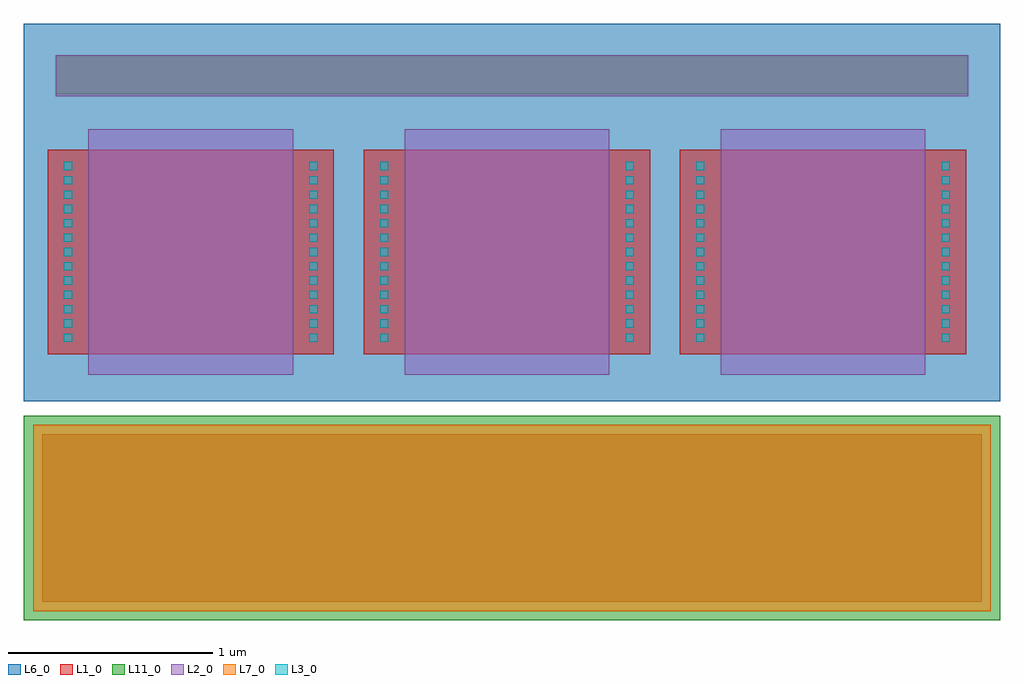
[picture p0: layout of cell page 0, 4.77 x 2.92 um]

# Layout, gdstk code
import gdstk
lib = gdstk.Library(unit=1e-6, precision=5e-09)
def R(c, l, rs):  # rectangles x0, y0, x1, y1
    for r in rs: c.add(gdstk.rectangle(r[:2], r[2:], *l))
def A(c, l, x, y, w, h, nx, ny, dx, dy):  # array of equal rectangles
    R(c, l, [(x+i*dx, y+j*dy, x+i*dx+w, y+j*dy+h) for i in range(nx) for j in range(ny)])
L1_0 = (1, 0)
L2_0 = (2, 0)
L3_0 = (3, 0)
L6_0 = (6, 0)
L7_0 = (7, 0)
L11_0 = (11, 0)

page_0 = lib.new_cell('page 0')
A(page_0, L1_0, 0.53, -2.125, 1.4, 1, 3, 1, 1.545, 0)
R(page_0, L1_0, [(0.505,-3.335,5.095,-2.515)])
A(page_0, L2_0, 0.73, -2.225, 1, 1.2, 3, 1, 1.545, 0)
R(page_0, L2_0, [(0.57,-0.865,5.03,-0.665)])
A(page_0, L3_0, 0.61, -2.065, 0.04, 0.04, 1, 13, 0, 0.07)
A(page_0, L3_0, 1.81, -2.065, 0.04, 0.04, 1, 13, 0, 0.07)
A(page_0, L3_0, 2.155, -2.065, 0.04, 0.04, 1, 13, 0, 0.07)
A(page_0, L3_0, 3.355, -2.065, 0.04, 0.04, 1, 13, 0, 0.07)
A(page_0, L3_0, 3.7, -2.065, 0.04, 0.04, 1, 13, 0, 0.07)
A(page_0, L3_0, 4.9, -2.065, 0.04, 0.04, 1, 13, 0, 0.07)
R(page_0, L6_0, [(0.415,-2.355,5.185,-0.51)])
R(page_0, L7_0, [(0.46,-3.38,5.14,-2.47)])
R(page_0, L11_0, [(0.415,-3.425,5.185,-2.425), (0.57,-0.855,5.03,-0.665)])

lib.write_gds('page_0.gds')
